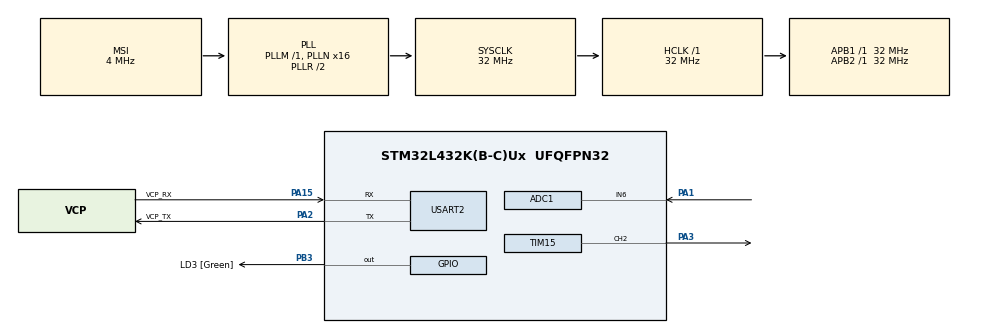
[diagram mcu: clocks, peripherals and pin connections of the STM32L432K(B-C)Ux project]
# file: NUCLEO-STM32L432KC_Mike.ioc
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ADC1.Channel-0\#ChannelRegularConversion=ADC_CHANNEL_6
ADC1.DMAContinuousRequests=ENABLE
ADC1.ExternalTrigConv=ADC_EXTERNALTRIG_T15_TRGO
ADC1.ExternalTrigConvEdge=ADC_EXTERNALTRIGCONVEDGE_FALLING
ADC1.NbrOfConversion=1
ADC1.NbrOfConversionFlag=1
ADC1.OffsetNumber-0\#ChannelRegularConversion=ADC_OFFSET_NONE
ADC1.Rank-0\#ChannelRegularConversion=1
ADC1.SamplingTime-0\#ChannelRegularConversion=ADC_SAMPLETIME_2CYCLES_5
ADC1.master=1
Dma.ADC1.0.Direction=DMA_PERIPH_TO_MEMORY
Dma.ADC1.0.Instance=DMA1_Channel1
Dma.ADC1.0.MemDataAlignment=DMA_MDATAALIGN_HALFWORD
Dma.ADC1.0.MemInc=DMA_MINC_ENABLE
Dma.ADC1.0.Mode=DMA_CIRCULAR
Dma.ADC1.0.PeriphDataAlignment=DMA_PDATAALIGN_HALFWORD
Dma.ADC1.0.PeriphInc=DMA_PINC_DISABLE
Dma.ADC1.0.Priority=DMA_PRIORITY_LOW
Dma.Request0=ADC1
Mcu.Family=STM32L4
Mcu.Name=STM32L432K(B-C)Ux
Mcu.Package=UFQFPN32
NVIC.DMA1_Channel1_IRQn=true\:0\:0\:false\:false\:true\:false\:true\:true
NVIC.PriorityGroup=NVIC_PRIORITYGROUP_4
PA0.GPIO_Label=MCO [High speed clock in]
PA0.Mode=HSE-External-Clock-Source-for-LittleOrca
PA0.Signal=RCC_CK_IN
PA1.Signal=ADCx_IN6
PA13\ (JTMS-SWDIO).GPIO_Label=SWDIO
PA13\ (JTMS-SWDIO).Mode=Serial_Wire
PA13\ (JTMS-SWDIO).Signal=SYS_JTMS-SWDIO
PA14\ (JTCK-SWCLK).GPIO_Label=SWCLK
PA14\ (JTCK-SWCLK).Mode=Serial_Wire
PA14\ (JTCK-SWCLK).Signal=SYS_JTCK-SWCLK
PA15\ (JTDI).GPIO_Label=VCP_RX
PA15\ (JTDI).Mode=Asynchronous
PA15\ (JTDI).Signal=USART2_RX
PA2.GPIO_Label=VCP_TX
PA2.Mode=Asynchronous
PA2.Signal=USART2_TX
PA3.Signal=S_TIM15_CH2
PB3\ (JTDO-TRACESWO).GPIO_Label=LD3 [Green]
PB3\ (JTDO-TRACESWO).Signal=GPIO_Output
PC14-OSC32_IN\ (PC14).Mode=LSE-External-Oscillator
PC14-OSC32_IN\ (PC14).Signal=RCC_OSC32_IN
PC15-OSC32_OUT\ (PC15).Mode=LSE-External-Oscillator
PC15-OSC32_OUT\ (PC15).Signal=RCC_OSC32_OUT
ProjectManager.HeapSize=0x200
ProjectManager.StackSize=0x400
ProjectManager.TargetToolchain=STM32CubeIDE
RCC.ADCFreq_Value=32000000
RCC.AHBFreq_Value=32000000
RCC.APB1Freq_Value=32000000
RCC.APB1TimFreq_Value=32000000
RCC.APB2Freq_Value=32000000
RCC.APB2TimFreq_Value=32000000
RCC.CortexFreq_Value=32000000
RCC.HCLKFreq_Value=32000000
RCC.HSE_VALUE=8000000
RCC.HSI16_VALUE=16000000
RCC.HSI48_VALUE=48000000
RCC.HSI_VALUE=16000000
RCC.MSI_VALUE=4000000
RCC.PLLMUL=RCC_PLLMUL_4
RCC.PLLN=16
RCC.PLLSAI1N=16
RCC.SYSCLKFreq_VALUE=32000000
RCC.SYSCLKSource=RCC_SYSCLKSOURCE_PLLCLK
RCC.USBFreq_Value=32000000
RCC.VCOOutputFreq_Value=64000000
SH.ADCx_IN6.0=ADC1_IN6,IN6-Single-Ended
SH.S_TIM15_CH2.0=TIM15_CH2,PWM Generation2 CH2
TIM15.Channel-PWM\ Generation2\ CH2=TIM_CHANNEL_2
TIM15.Period=125-1
TIM15.Prescaler=32-1
TIM15.Pulse-PWM\ Generation2\ CH2=50
TIM15.TIM_MasterOutputTrigger=TIM_TRGO_OC2REF
USART2.VirtualMode-Asynchronous=VM_ASYNC
VP_TIM15_VS_ClockSourceINT.Mode=Internal
board=NUCLEO-L432KC

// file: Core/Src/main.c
/* USER CODE BEGIN Header */
/**
  ******************************************************************************
  * @file           : main.c
  * @brief          : Main program body
  ******************************************************************************
  * @attention
  *
  * Copyright (c) 2022 STMicroelectronics.
  * All rights reserved.
  *
  * This software is licensed under terms that can be found in the LICENSE file
  * in the root directory of this software component.
  * If no LICENSE file comes with this software, it is provided AS-IS.
  *
  ******************************************************************************
  */
/* USER CODE END Header */
#include "main.h"

/* USER CODE BEGIN Includes */
#include "dtmf_detection.h"
/* USER CODE END Includes */

/* USER CODE BEGIN PD */
#define SAMPLES 400
/* USER CODE END PD */

 ADC_HandleTypeDef hadc1;
DMA_HandleTypeDef hdma_adc1;

TIM_HandleTypeDef htim15;

UART_HandleTypeDef huart2;

/* USER CODE BEGIN PV */
uint16_t audio_buffer[SAMPLES];
/* USER CODE END PV */

void SystemClock_Config(void);
static void MX_GPIO_Init(void);
static void MX_USART2_UART_Init(void);
static void MX_DMA_Init(void);
static void MX_ADC1_Init(void);
static void MX_TIM15_Init(void);
/* USER CODE BEGIN PFP */
int _write(int file, char *ptr, int len)
{
HAL_UART_Transmit( &huart2, (uint8_t*)ptr, len, HAL_MAX_DELAY );
return len;
}

void process(uint16_t buffer[], int len)
{
	char c = dtmf_detection_detect(buffer, len);
	printf("%c \r\n", c);

}
void HAL_ADC_ConvHalfCpltCallback(ADC_HandleTypeDef *hadc)
{
  HAL_GPIO_WritePin(LD3_GPIO_Port,LD3_Pin, GPIO_PIN_SET);
  process(audio_buffer , sizeof(audio_buffer)/2);
}
void HAL_ADC_ConvCpltCallback(ADC_HandleTypeDef *hadc)
{
  HAL_GPIO_WritePin(LD3_GPIO_Port,LD3_Pin, GPIO_PIN_RESET);
  process(audio_buffer , sizeof(audio_buffer)/2);
}

/* USER CODE END PFP */

/* USER CODE BEGIN 0 */
uint16_t adc_val;

/* USER CODE END 0 */

int main(void)
{

  /* MCU Configuration--------------------------------------------------------*/

  /* Reset of all peripherals, Initializes the Flash interface and the Systick. */
  HAL_Init();

  /* Configure the system clock */
  SystemClock_Config();

  /* Initialize all configured peripherals */
  MX_GPIO_Init();
  MX_USART2_UART_Init();
  MX_DMA_Init();
  MX_ADC1_Init();
  MX_TIM15_Init();
  /* USER CODE BEGIN 2 */
  //dtmf_detection_init();
  HAL_ADC_Start(&hadc1);
  HAL_TIM_PWM_Start(&htim15, TIM_CHANNEL_2);
  //HAL_ADC_Start_DMA(&hadc1, audio_buffer, SAMPLES);
  //__HAL_FREEZE_TIM15_DBGMCU(); // freeze timer while debugging

  /* USER CODE END 2 */

  /* Infinite loop */
  while (1)
  {

    /* USER CODE BEGIN 3 */

	  HAL_ADC_PollForConversion(&hadc1, HAL_MAX_DELAY);
	  adc_val = HAL_ADC_GetValue(&hadc1);
	  HAL_GPIO_TogglePin(LD3_GPIO_Port, LD3_Pin);
  }
  /* USER CODE END 3 */
}

void SystemClock_Config(void)
{
  RCC_OscInitTypeDef RCC_OscInitStruct = {0};
  RCC_ClkInitTypeDef RCC_ClkInitStruct = {0};

  /** Configure the main internal regulator output voltage
  */
  if (HAL_PWREx_ControlVoltageScaling(PWR_REGULATOR_VOLTAGE_SCALE1) != HAL_OK)
  {
    Error_Handler();
  }

  /** Configure LSE Drive Capability
  */
  HAL_PWR_EnableBkUpAccess();
  __HAL_RCC_LSEDRIVE_CONFIG(RCC_LSEDRIVE_LOW);

  /** Initializes the RCC Oscillators according to the specified parameters
  * in the RCC_OscInitTypeDef structure.
  */
  RCC_OscInitStruct.OscillatorType = RCC_OSCILLATORTYPE_LSE|RCC_OSCILLATORTYPE_MSI;
  RCC_OscInitStruct.LSEState = RCC_LSE_ON;
  RCC_OscInitStruct.MSIState = RCC_MSI_ON;
  RCC_OscInitStruct.MSICalibrationValue = 0;
  RCC_OscInitStruct.MSIClockRange = RCC_MSIRANGE_6;
  RCC_OscInitStruct.PLL.PLLState = RCC_PLL_ON;
  RCC_OscInitStruct.PLL.PLLSource = RCC_PLLSOURCE_MSI;
  RCC_OscInitStruct.PLL.PLLM = 1;
  RCC_OscInitStruct.PLL.PLLN = 16;
  RCC_OscInitStruct.PLL.PLLP = RCC_PLLP_DIV7;
  RCC_OscInitStruct.PLL.PLLQ = RCC_PLLQ_DIV2;
  RCC_OscInitStruct.PLL.PLLR = RCC_PLLR_DIV2;
  if (HAL_RCC_OscConfig(&RCC_OscInitStruct) != HAL_OK)
  {
    Error_Handler();
  }

  /** Initializes the CPU, AHB and APB buses clocks
  */
  RCC_ClkInitStruct.ClockType = RCC_CLOCKTYPE_HCLK|RCC_CLOCKTYPE_SYSCLK
                              |RCC_CLOCKTYPE_PCLK1|RCC_CLOCKTYPE_PCLK2;
  RCC_ClkInitStruct.SYSCLKSource = RCC_SYSCLKSOURCE_PLLCLK;
  RCC_ClkInitStruct.AHBCLKDivider = RCC_SYSCLK_DIV1;
  RCC_ClkInitStruct.APB1CLKDivider = RCC_HCLK_DIV1;
  RCC_ClkInitStruct.APB2CLKDivider = RCC_HCLK_DIV1;

  if (HAL_RCC_ClockConfig(&RCC_ClkInitStruct, FLASH_LATENCY_1) != HAL_OK)
  {
    Error_Handler();
  }

  /** Enable MSI Auto calibration
  */
  HAL_RCCEx_EnableMSIPLLMode();
}

static void MX_ADC1_Init(void)
{

  ADC_ChannelConfTypeDef sConfig = {0};

  /** Common config
  */
  hadc1.Instance = ADC1;
  hadc1.Init.ClockPrescaler = ADC_CLOCK_ASYNC_DIV1;
  hadc1.Init.Resolution = ADC_RESOLUTION_12B;
  hadc1.Init.DataAlign = ADC_DATAALIGN_RIGHT;
  hadc1.Init.ScanConvMode = ADC_SCAN_DISABLE;
  hadc1.Init.EOCSelection = ADC_EOC_SINGLE_CONV;
  hadc1.Init.LowPowerAutoWait = DISABLE;
  hadc1.Init.ContinuousConvMode = DISABLE;
  hadc1.Init.NbrOfConversion = 1;
  hadc1.Init.DiscontinuousConvMode = DISABLE;
  hadc1.Init.ExternalTrigConv = ADC_EXTERNALTRIG_T15_TRGO;
  hadc1.Init.ExternalTrigConvEdge = ADC_EXTERNALTRIGCONVEDGE_FALLING;
  hadc1.Init.DMAContinuousRequests = ENABLE;
  hadc1.Init.Overrun = ADC_OVR_DATA_PRESERVED;
  hadc1.Init.OversamplingMode = DISABLE;
  if (HAL_ADC_Init(&hadc1) != HAL_OK)
  {
    Error_Handler();
  }

  /** Configure Regular Channel
  */
  sConfig.Channel = ADC_CHANNEL_6;
  sConfig.Rank = ADC_REGULAR_RANK_1;
  sConfig.SamplingTime = ADC_SAMPLETIME_2CYCLES_5;
  sConfig.SingleDiff = ADC_SINGLE_ENDED;
  sConfig.OffsetNumber = ADC_OFFSET_NONE;
  sConfig.Offset = 0;
  if (HAL_ADC_ConfigChannel(&hadc1, &sConfig) != HAL_OK)
  {
    Error_Handler();
  }

}

static void MX_TIM15_Init(void)
{

  TIM_ClockConfigTypeDef sClockSourceConfig = {0};
  TIM_MasterConfigTypeDef sMasterConfig = {0};
  TIM_OC_InitTypeDef sConfigOC = {0};
  TIM_BreakDeadTimeConfigTypeDef sBreakDeadTimeConfig = {0};

  htim15.Instance = TIM15;
  htim15.Init.Prescaler = 32-1;
  htim15.Init.CounterMode = TIM_COUNTERMODE_UP;
  htim15.Init.Period = 125-1;
  htim15.Init.ClockDivision = TIM_CLOCKDIVISION_DIV1;
  htim15.Init.RepetitionCounter = 0;
  htim15.Init.AutoReloadPreload = TIM_AUTORELOAD_PRELOAD_DISABLE;
  if (HAL_TIM_Base_Init(&htim15) != HAL_OK)
  {
    Error_Handler();
  }
  sClockSourceConfig.ClockSource = TIM_CLOCKSOURCE_INTERNAL;
  if (HAL_TIM_ConfigClockSource(&htim15, &sClockSourceConfig) != HAL_OK)
  {
    Error_Handler();
  }
  if (HAL_TIM_PWM_Init(&htim15) != HAL_OK)
  {
    Error_Handler();
  }
  sMasterConfig.MasterOutputTrigger = TIM_TRGO_OC2REF;
  sMasterConfig.MasterSlaveMode = TIM_MASTERSLAVEMODE_DISABLE;
  if (HAL_TIMEx_MasterConfigSynchronization(&htim15, &sMasterConfig) != HAL_OK)
  {
    Error_Handler();
  }
  sConfigOC.OCMode = TIM_OCMODE_PWM1;
  sConfigOC.Pulse = 50;
  sConfigOC.OCPolarity = TIM_OCPOLARITY_HIGH;
  sConfigOC.OCNPolarity = TIM_OCNPOLARITY_HIGH;
  sConfigOC.OCFastMode = TIM_OCFAST_DISABLE;
  sConfigOC.OCIdleState = TIM_OCIDLESTATE_RESET;
  sConfigOC.OCNIdleState = TIM_OCNIDLESTATE_RESET;
  if (HAL_TIM_PWM_ConfigChannel(&htim15, &sConfigOC, TIM_CHANNEL_2) != HAL_OK)
  {
    Error_Handler();
  }
  sBreakDeadTimeConfig.OffStateRunMode = TIM_OSSR_DISABLE;
  sBreakDeadTimeConfig.OffStateIDLEMode = TIM_OSSI_DISABLE;
  sBreakDeadTimeConfig.LockLevel = TIM_LOCKLEVEL_OFF;
  sBreakDeadTimeConfig.DeadTime = 0;
  sBreakDeadTimeConfig.BreakState = TIM_BREAK_DISABLE;
  sBreakDeadTimeConfig.BreakPolarity = TIM_BREAKPOLARITY_HIGH;
  sBreakDeadTimeConfig.AutomaticOutput = TIM_AUTOMATICOUTPUT_DISABLE;
  if (HAL_TIMEx_ConfigBreakDeadTime(&htim15, &sBreakDeadTimeConfig) != HAL_OK)
  {
    Error_Handler();
  }
  HAL_TIM_MspPostInit(&htim15);

}

static void MX_USART2_UART_Init(void)
{

  huart2.Instance = USART2;
  huart2.Init.BaudRate = 115200;
  huart2.Init.WordLength = UART_WORDLENGTH_8B;
  huart2.Init.StopBits = UART_STOPBITS_1;
  huart2.Init.Parity = UART_PARITY_NONE;
  huart2.Init.Mode = UART_MODE_TX_RX;
  huart2.Init.HwFlowCtl = UART_HWCONTROL_NONE;
  huart2.Init.OverSampling = UART_OVERSAMPLING_16;
  huart2.Init.OneBitSampling = UART_ONE_BIT_SAMPLE_DISABLE;
  huart2.AdvancedInit.AdvFeatureInit = UART_ADVFEATURE_NO_INIT;
  if (HAL_UART_Init(&huart2) != HAL_OK)
  {
    Error_Handler();
  }

}

static void MX_DMA_Init(void)
{

  /* DMA controller clock enable */
  __HAL_RCC_DMA1_CLK_ENABLE();

  /* DMA interrupt init */
  /* DMA1_Channel1_IRQn interrupt configuration */
  HAL_NVIC_SetPriority(DMA1_Channel1_IRQn, 0, 0);
  HAL_NVIC_EnableIRQ(DMA1_Channel1_IRQn);

}

static void MX_GPIO_Init(void)
{
  GPIO_InitTypeDef GPIO_InitStruct = {0};

  /* GPIO Ports Clock Enable */
  __HAL_RCC_GPIOC_CLK_ENABLE();
  __HAL_RCC_GPIOA_CLK_ENABLE();
  __HAL_RCC_GPIOB_CLK_ENABLE();

  /*Configure GPIO pin Output Level */
  HAL_GPIO_WritePin(LD3_GPIO_Port, LD3_Pin, GPIO_PIN_RESET);

  /*Configure GPIO pin : LD3_Pin */
  GPIO_InitStruct.Pin = LD3_Pin;
  GPIO_InitStruct.Mode = GPIO_MODE_OUTPUT_PP;
  GPIO_InitStruct.Pull = GPIO_NOPULL;
  GPIO_InitStruct.Speed = GPIO_SPEED_FREQ_LOW;
  HAL_GPIO_Init(LD3_GPIO_Port, &GPIO_InitStruct);

}

void Error_Handler(void)
{
  __disable_irq();
  while (1)
  {
  }
}
